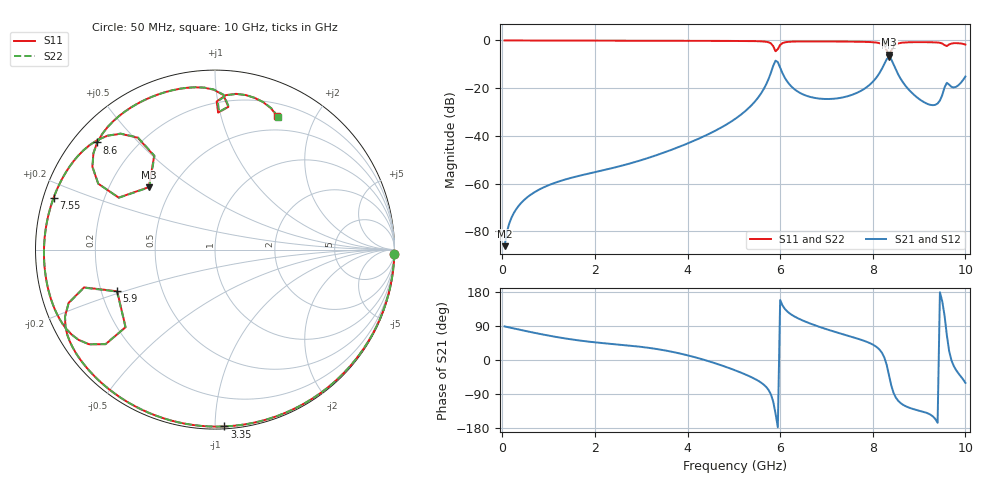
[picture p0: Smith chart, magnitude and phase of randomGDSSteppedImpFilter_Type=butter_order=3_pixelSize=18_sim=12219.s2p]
! freq	dB(S11)	phase(S11)	dB(S12)	phase(S12)
!  dB(S21)	phase(S21)	dB(S22)	phase(S22)
!S-par simulation data
#  GHz  S  DB  R 50
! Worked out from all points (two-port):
!   200 points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, 50 MHz to 10 GHz, reference 50 ohm
!   highest |S21| = -6.99 dB at 8.35 GHz (marker M1); lowest = -86.3 dB at 50 MHz (marker M2)
!   |S21| within 3 dB of the highest: 5.865 GHz to 5.969 GHz (104.2 MHz wide, 1.76 % of centre); 8.245 GHz to 8.447 GHz (201.8 MHz wide, 2.42 % of centre)
!   lowest |S11| = -5.9 dB at 8.35 GHz (marker M3), VSWR 3.05, Z = 18.6 + j17.4 ohm
!   |S11| at or under -10 dB: nowhere
!   |S22| runs from -5.9 to 0.0 dB; largest |S21 - S12| = 0
!   S11 on the Smith chart (normalised r, x): 50 MHz: 2, -84; 3.35 GHz: 0.01, -1.05; 5.9 GHz: 0.27, -0.19; 7.55 GHz: 0.03, +0.16; 8.6 GHz: 0.07, +0.39; 10 GHz: 0.34, +1.52
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0.05  -0.01 -1.4  -86.26 88.6  -86.26 88.6  -0.00 -1.4
0.6  -0.02 -16.1  -64.86 74.1  -64.86 74.1  -0.02 -16.1
1.75  -0.06 -46.4  -56.34 50.1  -56.34 50.1  -0.06 -46.3
3.35  -0.12 -87.0  -47.97 28.7  -47.97 28.7  -0.12 -86.9
3.4  -0.12 -88.2  -47.63 27.7  -47.63 27.7  -0.12 -88.2
5.05  -0.22 -130.2  -32.61 -28.2  -32.61 -28.2  -0.22 -130.2
5.5  -0.31 -143.9  -24.56 -53.0  -24.56 -53.0  -0.31 -143.8
5.75  -0.77 -156.0  -16.15 -79.1  -16.15 -79.1  -0.77 -155.9
5.9  -4.55 -156.9  -8.48 -141.3  -8.48 -141.3  -4.53 -156.8
6.05  -1.13 -143.1  -13.73 144.2  -13.73 144.2  -1.13 -143.1
6.3  -0.46 -156.0  -20.31 115.5  -20.31 115.5  -0.46 -156.0
6.7  -0.40 -169.6  -23.91 93.9  -23.91 93.9  -0.40 -169.6
7.55  -0.50 162.2  -22.82 60.9  -22.82 60.9  -0.50 162.2
8.2  -1.58 129.2  -11.78 18.7  -11.78 18.7  -1.59 129.1
8.35  -5.90 136.7  -6.99 -39.9  -6.99 -39.9  -5.94 136.6
8.45  -2.53 150.5  -10.10 -87.1  -10.10 -87.1  -2.54 150.6
8.6  -1.04 137.7  -16.01 -113.6  -16.01 -113.6  -1.04 137.7
9.3  -0.77 99.8  -27.14 -149.1  -27.14 -149.1  -0.77 99.6
9.45  -1.00 90.5  -25.19 178.9  -25.19 178.9  -0.99 90.4
9.6  -2.34 88.7  -17.77 65.0  -17.77 65.0  -2.30 88.3
9.8  -1.13 78.9  -19.44 -26.8  -19.44 -26.8  -1.13 78.5
10  -1.73 64.9  -15.13 -60.3  -15.13 -60.3  -1.74 64.4
